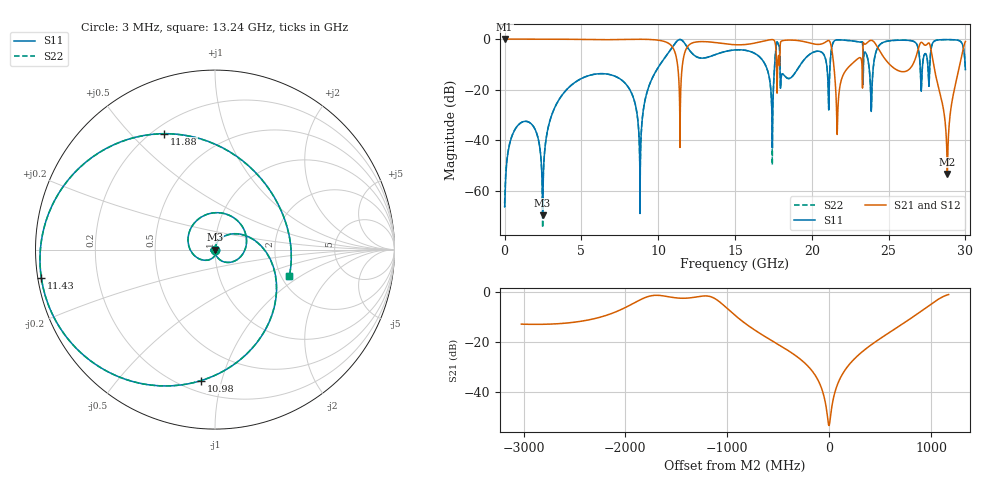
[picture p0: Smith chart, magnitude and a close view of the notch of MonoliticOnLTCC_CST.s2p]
! TOUCHSTONE file generated by CST MICROWAVE STUDIO
! Date and time: Wed Mar 19 15:52:52 2025
! Project name: monoloticOnLTCC.cst
! Parameters = {Delta_GND=2400; Delta_GND_MMIC=800; Delta_GND_Strip=1000; Delta_H=137; Delta_Linea=100; Delta_Pos1_Via=-150; Delta_Pos2_Via=200; Delta_W_Chip=150; Dist_Bordo_Via=500; Dist_Via=520; Eps_Meg=3.71; H_Ball=300; H_Chip=100; H_Sub=137; H_Sub_Meg=125; H_uFilo=150; L_GND_Strip=1800; L_Linea_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
! Header version: 2018
! Port assignment regex: !\s*Touchstone port\s*([0-9]+)\s*=\s*(CST MWS port|CST DS port)\s*([0-9]+|Zmin|Zmax)\s*\(\"(.*)\"\)(\s*mode\s*([0-9]+))?.*
! Touchstone port assignment:
! Touchstone port 1 = CST MWS port 1 ("")
! Touchstone port 2 = CST MWS port 2 ("")
! S-Parameters are not renormalized. Unphysical impedance of 50 will be written to the file.
# GHz S MA R 50
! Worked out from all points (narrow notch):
!   10003 points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, 3 MHz to 30 GHz, reference per port
!   highest |S21| = 0.00 dB at 3 MHz (marker M1); lowest = -53.4 dB at 28.83 GHz (marker M2)
!   notch at M2: 52.2 dB deep, 504 MHz wide at half that depth
!   lowest |S11| = -69.6 dB at 2.478 GHz (marker M3), VSWR 1.00
!   |S11| at or under -10 dB: start of sweep to 10.13 GHz; 16.96 GHz to 17.59 GHz (624.2 MHz wide, 3.61 % of centre); 17.93 GHz to 19.27 GHz (1.345 GHz wide, 7.23 % of centre)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
!   |S22| runs from -74.6 to -0.2 dB; largest |S21 - S12| = 0.00035
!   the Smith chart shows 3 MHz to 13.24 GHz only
!   S11 on the Smith chart (normalised r, x): 3 MHz: 1.00, +0.00; 10.98 GHz: 0.27, -0.86; 11.43 GHz: 0.01, -0.08; 11.88 GHz: 0.24, +0.62; 13.24 GHz: 2.21, -0.80
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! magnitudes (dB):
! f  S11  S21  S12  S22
! 3 MHz  -66.2  0.0  0.0  -65.0
! 1.074 GHz  -33.0  0.0  0.0  -33.1
! 2.478 GHz  -69.6  0.0  0.0  -74.6
! 5.004 GHz  -15.6  -0.2  -0.2  -15.6
! 7.83 GHz  -17.3  -0.1  -0.1  -17.3
! 8.817 GHz  -62.9  -0.1  -0.1  -62.5
! 10 GHz  -11.2  -0.4  -0.4  -11.2
! 10.98 GHz  -2.7  -3.6  -3.6  -2.7
! 11.43 GHz  -0.2  -32.3  -32.3  -0.2
! 11.88 GHz  -3.0  -3.3  -3.3  -3.0
! 13.24 GHz  -7.1  -1.1  -1.1  -7.1
! 15 GHz  -4.3  -2.2  -2.2  -4.3
! 17.38 GHz  -25.1  -0.2  -0.2  -25.4
! 17.76 GHz  -1.3  -13.4  -13.4  -1.3
! 20 GHz  -5.5  -1.8  -1.8  -5.5
! 21.17 GHz  -12.4  -1.0  -1.0  -12.4
! 21.69 GHz  -0.3  -30.1  -30.1  -0.3
! 23.86 GHz  -28.0  -0.5  -0.5  -27.7
! 25 GHz  -0.7  -9.6  -9.6  -0.7
! 27.62 GHz  -18.4  -1.5  -1.5  -18.4
! 28.83 GHz  -0.2  -53.4  -53.6  -0.2
! 30 GHz  -12.1  -1.0  -1.0  -12.1
